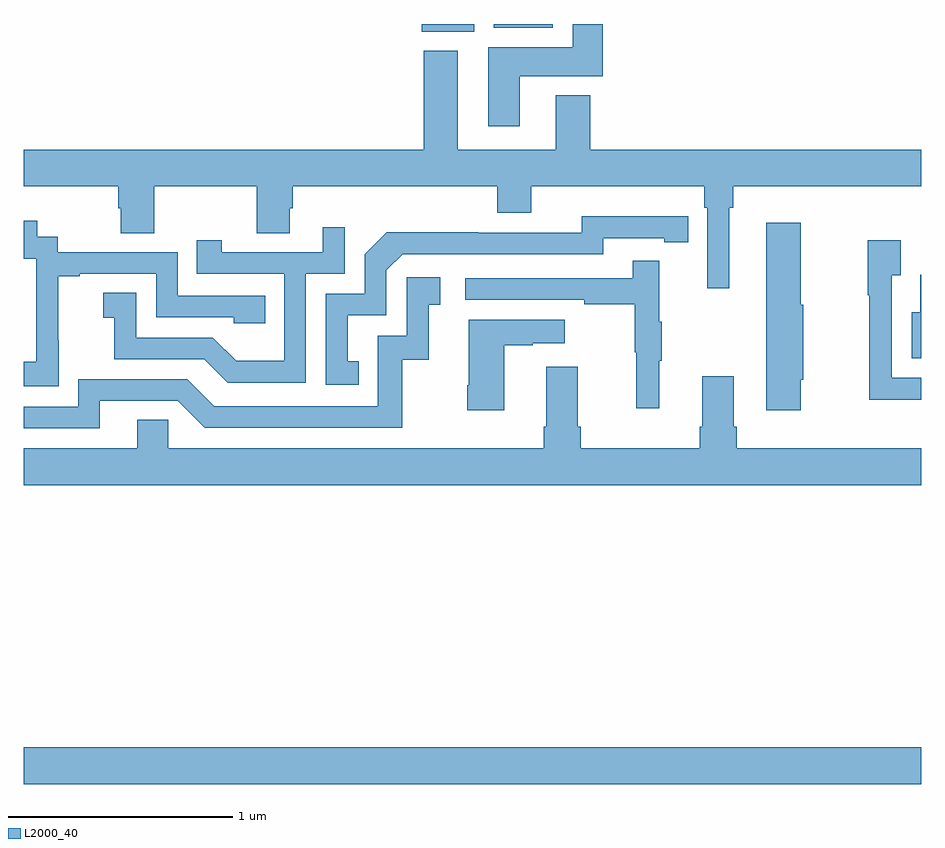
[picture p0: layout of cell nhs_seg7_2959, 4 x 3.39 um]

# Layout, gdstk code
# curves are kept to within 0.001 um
import gdstk
lib = gdstk.Library(unit=1e-6, precision=1e-09)
def R(c, l, rs):  # rectangles x0, y0, x1, y1
    for r in rs: c.add(gdstk.rectangle(r[:2], r[2:], *l))
def P(c, l, *ps):  # polygons
    for p in ps: c.add(gdstk.Polygon(p, *l))
L2000_40 = (2000, 40)

nhs_seg7_2959 = lib.new_cell('nhs_seg7_2959')
R(nhs_seg7_2959, L2000_40, [(301,1004.612,305,1004.776), (302.774,1007.966,303.007,1008), (303.095,1007.984,303.358,1008)])
P(nhs_seg7_2959, L2000_40, [(303.211,1007.768),(303.581,1007.768),(303.581,1008),(303.446,1008),(303.446,1007.896),(303.071,1007.896),(303.071,1007.544),(303.211,1007.544)],
  [(304.144,1007.18),(304.163,1007.18),(304.163,1007.276),(305,1007.276),(305,1007.44),(303.524,1007.44),(303.524,1007.683),(303.371,1007.683),(303.371,1007.44),(302.935,1007.44),(302.935,1007.881),(302.783,1007.881),(302.783,1007.44),(301,1007.44),(301,1007.276),(301.421,1007.276),(301.421,1007.178),(301.433,1007.178),(301.433,1007.068),(301.581,1007.068),(301.581,1007.276),(302.038,1007.276),(302.038,1007.068),(302.185,1007.068),(302.185,1007.178),(302.198,1007.178),(302.198,1007.276),(303.11,1007.276),(303.11,1007.159),(303.262,1007.159),(303.262,1007.276),(304.034,1007.276),(304.034,1007.18),(304.047,1007.18),(304.047,1006.821),(304.144,1006.821)],
  [(302.492,1006.497),(302.443,1006.497),(302.443,1006.701),(302.616,1006.701),(302.616,1006.902),(302.688,1006.974),(303.582,1006.974),(303.582,1007.046),(303.854,1007.046),(303.854,1007.026),(303.962,1007.026),(303.962,1007.142),(303.486,1007.143),(303.486,1007.07),(303.026,1007.07),(303.026,1007.072),(302.618,1007.072),(302.52,1006.974),(302.52,1006.797),(302.346,1006.797),(302.346,1006.392),(302.492,1006.392)],
  [(301.155,1006.591),(301.154,1006.591),(301.154,1006.875),(301.249,1006.875),(301.249,1006.887),(301.59,1006.887),(301.59,1006.692),(301.935,1006.692),(301.935,1006.665),(302.075,1006.665),(302.075,1006.788),(301.686,1006.788),(301.686,1006.983),(301.152,1006.983),(301.152,1007.052),(301.06,1007.052),(301.06,1007.122),(301,1007.122),(301,1006.953),(301.056,1006.953),(301.056,1006.724),(301.055,1006.724),(301.055,1006.495),(301,1006.495),(301,1006.385),(301.155,1006.385)],
  [(304.464,1006.413),(304.474,1006.413),(304.474,1006.749),(304.464,1006.749),(304.464,1007.113),(304.31,1007.113),(304.31,1006.278),(304.464,1006.278)],
  [(302.256,1006.887),(302.43,1006.887),(302.43,1007.095),(302.333,1007.095),(302.333,1006.983),(301.882,1006.983),(301.882,1007.035),(301.771,1007.035),(301.771,1006.887),(302.16,1006.887),(302.16,1006.498),(301.946,1006.498),(301.842,1006.602),(301.5,1006.602),(301.5,1006.801),(301.353,1006.801),(301.353,1006.691),(301.402,1006.691),(301.402,1006.506),(301.805,1006.506),(301.91,1006.401),(302.256,1006.401)],
  [(305,1006.422),(304.869,1006.422),(304.869,1006.879),(304.909,1006.879),(304.909,1007.035),(304.761,1007.035),(304.761,1006.79),(304.768,1006.79),(304.768,1006.325),(305,1006.325)],
  [(303.833,1006.499),(303.844,1006.499),(303.844,1006.673),(303.833,1006.673),(303.833,1006.945),(303.715,1006.945),(303.715,1006.866),(302.967,1006.866),(302.967,1006.77),(303.499,1006.77),(303.499,1006.75),(303.723,1006.75),(303.723,1006.536),(303.73,1006.536),(303.73,1006.287),(303.833,1006.287)],
  [(305,1006.882),(304.997,1006.882),(304.997,1006.714),(304.958,1006.714),(304.958,1006.511),(305,1006.511)],
  [(301.339,1006.32),(301.686,1006.32),(301.806,1006.2),(302.686,1006.2),(302.686,1006.503),(302.804,1006.503),(302.804,1006.749),(302.857,1006.749),(302.857,1006.87),(302.706,1006.87),(302.706,1006.611),(302.577,1006.611),(302.577,1006.296),(301.848,1006.296),(301.728,1006.416),(301.242,1006.416),(301.242,1006.293),(301,1006.293),(301,1006.197),(301.339,1006.197)],
  [(303.142,1006.567),(303.269,1006.567),(303.269,1006.577),(303.412,1006.577),(303.412,1006.681),(302.984,1006.681),(302.984,1006.39),(302.977,1006.39),(302.977,1006.278),(303.142,1006.278)],
  [(305,1006.108),(304.178,1006.108),(304.178,1006.204),(304.165,1006.204),(304.165,1006.429),(304.025,1006.429),(304.025,1006.204),(304.013,1006.204),(304.013,1006.108),(303.482,1006.108),(303.482,1006.204),(303.469,1006.204),(303.469,1006.471),(303.329,1006.471),(303.329,1006.204),(303.317,1006.204),(303.317,1006.108),(301.644,1006.108),(301.644,1006.235),(301.505,1006.235),(301.505,1006.108),(301,1006.108),(301,1005.944),(305,1005.944)])

lib.write_gds('nhs_seg7_2959.gds')
